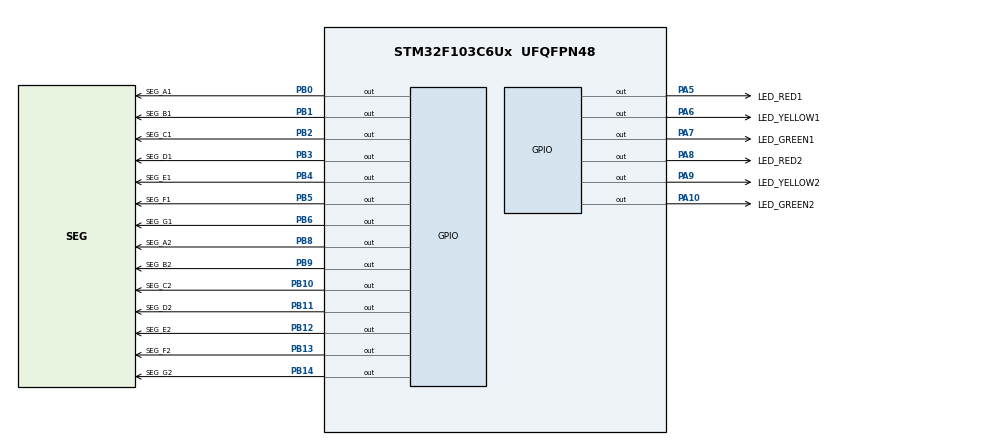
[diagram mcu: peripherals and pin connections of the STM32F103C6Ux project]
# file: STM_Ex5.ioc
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Mcu.Family=STM32F1
Mcu.Name=STM32F103C6Ux
Mcu.Package=UFQFPN48
NVIC.PriorityGroup=NVIC_PRIORITYGROUP_4
PA10.GPIO_Label=LED_GREEN2
PA10.Signal=GPIO_Output
PA5.GPIO_Label=LED_RED1
PA5.Signal=GPIO_Output
PA6.GPIO_Label=LED_YELLOW1
PA6.Signal=GPIO_Output
PA7.GPIO_Label=LED_GREEN1
PA7.Signal=GPIO_Output
PA8.GPIO_Label=LED_RED2
PA8.Signal=GPIO_Output
PA9.GPIO_Label=LED_YELLOW2
PA9.Signal=GPIO_Output
PB0.GPIO_Label=SEG_A1
PB0.Signal=GPIO_Output
PB1.GPIO_Label=SEG_B1
PB1.Signal=GPIO_Output
PB10.GPIO_Label=SEG_C2
PB10.Signal=GPIO_Output
PB11.GPIO_Label=SEG_D2
PB11.Signal=GPIO_Output
PB12.GPIO_Label=SEG_E2
PB12.Signal=GPIO_Output
PB13.GPIO_Label=SEG_F2
PB13.Signal=GPIO_Output
PB14.GPIO_Label=SEG_G2
PB14.Signal=GPIO_Output
PB2.GPIO_Label=SEG_C1
PB2.Signal=GPIO_Output
PB3.GPIO_Label=SEG_D1
PB3.Signal=GPIO_Output
PB4.GPIO_Label=SEG_E1
PB4.Signal=GPIO_Output
PB5.GPIO_Label=SEG_F1
PB5.Signal=GPIO_Output
PB6.GPIO_Label=SEG_G1
PB6.Signal=GPIO_Output
PB8.GPIO_Label=SEG_A2
PB8.Signal=GPIO_Output
PB9.GPIO_Label=SEG_B2
PB9.Signal=GPIO_Output
ProjectManager.HeapSize=0x200
ProjectManager.StackSize=0x400
ProjectManager.TargetToolchain=STM32CubeIDE
RCC.APB1Freq_Value=8000000
RCC.APB2Freq_Value=8000000
VP_SYS_VS_ND.Mode=No_Debug
board=custom

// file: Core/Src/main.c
/* USER CODE BEGIN Header */
/**
  ******************************************************************************
  * @file           : main.c
  * @brief          : Main program body
  ******************************************************************************
  * @attention
  *
  * <h2><center>&copy; Copyright (c) 2022 STMicroelectronics.
  * All rights reserved.</center></h2>
  *
  * This software component is licensed by ST under BSD 3-Clause license,
  * the "License"; You may not use this file except in compliance with the
  * License. You may obtain a copy of the License at:
  *                        opensource.org/licenses/BSD-3-Clause
  *
  ******************************************************************************
  */
/* USER CODE END Header */
#include "main.h"

void SystemClock_Config(void);
static void MX_GPIO_Init(void);

int main(void)
{

  /* MCU Configuration--------------------------------------------------------*/

  /* Reset of all peripherals, Initializes the Flash interface and the Systick. */
  HAL_Init();

  /* Configure the system clock */
  SystemClock_Config();

  /* Initialize all configured peripherals */
  MX_GPIO_Init();

  /* Infinite loop */
  /* USER CODE BEGIN WHILE */

  	// 2 counters, count1 for LED1s, count2 for LED2s
	int count1 = 0, count2 = 0;

	// Function to toggle each of LED1s
	void LED_RED1_toggle()
	{
	HAL_GPIO_WritePin(LED_RED1_GPIO_Port, LED_RED1_Pin, RESET);
	HAL_GPIO_WritePin(LED_YELLOW1_GPIO_Port, LED_YELLOW1_Pin, SET);
	HAL_GPIO_WritePin(LED_GREEN1_GPIO_Port, LED_GREEN1_Pin, SET);
	}
	void LED_GREEN1_toggle()
	{
	HAL_GPIO_WritePin(LED_RED1_GPIO_Port, LED_RED1_Pin, SET);
	HAL_GPIO_WritePin(LED_YELLOW1_GPIO_Port, LED_YELLOW1_Pin, SET);
	HAL_GPIO_WritePin(LED_GREEN1_GPIO_Port, LED_GREEN1_Pin, RESET);
	}
	void LED_YELLOW1_toggle()
	{
	HAL_GPIO_WritePin(LED_RED1_GPIO_Port, LED_RED1_Pin, SET);
	HAL_GPIO_WritePin(LED_YELLOW1_GPIO_Port, LED_YELLOW1_Pin, RESET);
	HAL_GPIO_WritePin(LED_GREEN1_GPIO_Port, LED_GREEN1_Pin, SET);
	}

	// Function to toggle each of LED2s
	void LED_RED2_toggle()
	{
	HAL_GPIO_WritePin(LED_RED2_GPIO_Port, LED_RED2_Pin, RESET);
	HAL_GPIO_WritePin(LED_YELLOW2_GPIO_Port, LED_YELLOW2_Pin, SET);
	HAL_GPIO_WritePin(LED_GREEN2_GPIO_Port, LED_GREEN2_Pin, SET);
	}
	void LED_GREEN2_toggle()
	{
	HAL_GPIO_WritePin(LED_RED2_GPIO_Port, LED_RED2_Pin, SET);
	HAL_GPIO_WritePin(LED_YELLOW2_GPIO_Port, LED_YELLOW2_Pin, SET);
	HAL_GPIO_WritePin(LED_GREEN2_GPIO_Port, LED_GREEN2_Pin, RESET);
	}
	void LED_YELLOW2_toggle()
	{
	HAL_GPIO_WritePin(LED_RED2_GPIO_Port, LED_RED2_Pin, SET);
	HAL_GPIO_WritePin(LED_YELLOW2_GPIO_Port, LED_YELLOW2_Pin, RESET);
	HAL_GPIO_WritePin(LED_GREEN2_GPIO_Port, LED_GREEN2_Pin, SET);
	}

	// Function to display in 7SEG 1
	void display7SEG1(int num)
	{
		switch(num)
		{
		case 0:
			HAL_GPIO_WritePin(SEG_A1_GPIO_Port, SEG_A1_Pin, RESET);
			HAL_GPIO_WritePin(SEG_B1_GPIO_Port, SEG_B1_Pin, RESET);
			HAL_GPIO_WritePin(SEG_C1_GPIO_Port, SEG_C1_Pin, RESET);
			HAL_GPIO_WritePin(SEG_D1_GPIO_Port, SEG_D1_Pin, RESET);
			HAL_GPIO_WritePin(SEG_E1_GPIO_Port, SEG_E1_Pin, RESET);
			HAL_GPIO_WritePin(SEG_F1_GPIO_Port, SEG_F1_Pin, RESET);
			HAL_GPIO_WritePin(SEG_G1_GPIO_Port, SEG_G1_Pin, SET);
			break;
		case 1:
			HAL_GPIO_WritePin(SEG_A1_GPIO_Port, SEG_A1_Pin, SET);
			HAL_GPIO_WritePin(SEG_B1_GPIO_Port, SEG_B1_Pin, RESET);
			HAL_GPIO_WritePin(SEG_C1_GPIO_Port, SEG_C1_Pin, RESET);
			HAL_GPIO_WritePin(SEG_D1_GPIO_Port, SEG_D1_Pin, SET);
			HAL_GPIO_WritePin(SEG_E1_GPIO_Port, SEG_E1_Pin, SET);
			HAL_GPIO_WritePin(SEG_F1_GPIO_Port, SEG_F1_Pin, SET);
			HAL_GPIO_WritePin(SEG_G1_GPIO_Port, SEG_G1_Pin, SET);
			break;
		case 2:
			HAL_GPIO_WritePin(SEG_A1_GPIO_Port, SEG_A1_Pin, RESET);
			HAL_GPIO_WritePin(SEG_B1_GPIO_Port, SEG_B1_Pin, RESET);
			HAL_GPIO_WritePin(SEG_C1_GPIO_Port, SEG_C1_Pin, SET);
			HAL_GPIO_WritePin(SEG_D1_GPIO_Port, SEG_D1_Pin, RESET);
			HAL_GPIO_WritePin(SEG_E1_GPIO_Port, SEG_E1_Pin, RESET);
			HAL_GPIO_WritePin(SEG_F1_GPIO_Port, SEG_F1_Pin, SET);
			HAL_GPIO_WritePin(SEG_G1_GPIO_Port, SEG_G1_Pin, RESET);
			break;
		case 3:
			HAL_GPIO_WritePin(SEG_A1_GPIO_Port, SEG_A1_Pin, RESET);
			HAL_GPIO_WritePin(SEG_B1_GPIO_Port, SEG_B1_Pin, RESET);
			HAL_GPIO_WritePin(SEG_C1_GPIO_Port, SEG_C1_Pin, RESET);
			HAL_GPIO_WritePin(SEG_D1_GPIO_Port, SEG_D1_Pin, RESET);
			HAL_GPIO_WritePin(SEG_E1_GPIO_Port, SEG_E1_Pin, SET);
			HAL_GPIO_WritePin(SEG_F1_GPIO_Port, SEG_F1_Pin, SET);
			HAL_GPIO_WritePin(SEG_G1_GPIO_Port, SEG_G1_Pin, RESET);
			break;
		case 4:
			HAL_GPIO_WritePin(SEG_A1_GPIO_Port, SEG_A1_Pin, SET);
			HAL_GPIO_WritePin(SEG_B1_GPIO_Port, SEG_B1_Pin, RESET);
			HAL_GPIO_WritePin(SEG_C1_GPIO_Port, SEG_C1_Pin, RESET);
			HAL_GPIO_WritePin(SEG_D1_GPIO_Port, SEG_D1_Pin, SET);
			HAL_GPIO_WritePin(SEG_E1_GPIO_Port, SEG_E1_Pin, SET);
			HAL_GPIO_WritePin(SEG_F1_GPIO_Port, SEG_F1_Pin, RESET);
			HAL_GPIO_WritePin(SEG_G1_GPIO_Port, SEG_G1_Pin, RESET);
			break;
		case 5:
			HAL_GPIO_WritePin(SEG_A1_GPIO_Port, SEG_A1_Pin, RESET);
			HAL_GPIO_WritePin(SEG_B1_GPIO_Port, SEG_B1_Pin, SET);
			HAL_GPIO_WritePin(SEG_C1_GPIO_Port, SEG_C1_Pin, RESET);
			HAL_GPIO_WritePin(SEG_D1_GPIO_Port, SEG_D1_Pin, RESET);
			HAL_GPIO_WritePin(SEG_E1_GPIO_Port, SEG_E1_Pin, SET);
			HAL_GPIO_WritePin(SEG_F1_GPIO_Port, SEG_F1_Pin, RESET);
			HAL_GPIO_WritePin(SEG_G1_GPIO_Port, SEG_G1_Pin, RESET);
			break;
		case 6:
			HAL_GPIO_WritePin(SEG_A1_GPIO_Port, SEG_A1_Pin, RESET);
			HAL_GPIO_WritePin(SEG_B1_GPIO_Port, SEG_B1_Pin, SET);
			HAL_GPIO_WritePin(SEG_C1_GPIO_Port, SEG_C1_Pin, RESET);
			HAL_GPIO_WritePin(SEG_D1_GPIO_Port, SEG_D1_Pin, RESET);
			HAL_GPIO_WritePin(SEG_E1_GPIO_Port, SEG_E1_Pin, RESET);
			HAL_GPIO_WritePin(SEG_F1_GPIO_Port, SEG_F1_Pin, RESET);
			HAL_GPIO_WritePin(SEG_G1_GPIO_Port, SEG_G1_Pin, RESET);
			break;
		case 7:
			HAL_GPIO_WritePin(SEG_A1_GPIO_Port, SEG_A1_Pin, RESET);
			HAL_GPIO_WritePin(SEG_B1_GPIO_Port, SEG_B1_Pin, RESET);
			HAL_GPIO_WritePin(SEG_C1_GPIO_Port, SEG_C1_Pin, RESET);
			HAL_GPIO_WritePin(SEG_D1_GPIO_Port, SEG_D1_Pin, SET);
			HAL_GPIO_WritePin(SEG_E1_GPIO_Port, SEG_E1_Pin, SET);
			HAL_GPIO_WritePin(SEG_F1_GPIO_Port, SEG_F1_Pin, SET);
			HAL_GPIO_WritePin(SEG_G1_GPIO_Port, SEG_G1_Pin, SET);
			break;
		case 8:
			HAL_GPIO_WritePin(SEG_A1_GPIO_Port, SEG_A1_Pin, RESET);
			HAL_GPIO_WritePin(SEG_B1_GPIO_Port, SEG_B1_Pin, RESET);
			HAL_GPIO_WritePin(SEG_C1_GPIO_Port, SEG_C1_Pin, RESET);
			HAL_GPIO_WritePin(SEG_D1_GPIO_Port, SEG_D1_Pin, RESET);
			HAL_GPIO_WritePin(SEG_E1_GPIO_Port, SEG_E1_Pin, RESET);
			HAL_GPIO_WritePin(SEG_F1_GPIO_Port, SEG_F1_Pin, RESET);
			HAL_GPIO_WritePin(SEG_G1_GPIO_Port, SEG_G1_Pin, RESET);
			break;
		case 9:
			HAL_GPIO_WritePin(SEG_A1_GPIO_Port, SEG_A1_Pin, RESET);
			HAL_GPIO_WritePin(SEG_B1_GPIO_Port, SEG_B1_Pin, RESET);
			HAL_GPIO_WritePin(SEG_C1_GPIO_Port, SEG_C1_Pin, RESET);
			HAL_GPIO_WritePin(SEG_D1_GPIO_Port, SEG_D1_Pin, RESET);
			HAL_GPIO_WritePin(SEG_E1_GPIO_Port, SEG_E1_Pin, SET);
			HAL_GPIO_WritePin(SEG_F1_GPIO_Port, SEG_F1_Pin, RESET);
			HAL_GPIO_WritePin(SEG_G1_GPIO_Port, SEG_G1_Pin, RESET);
			break;
		}
	}

	// Function to display in 7SEG 2
	void display7SEG2(int num)
	{
		switch(num)
		{
		case 0:
			HAL_GPIO_WritePin(SEG_A2_GPIO_Port, SEG_A2_Pin, RESET);
			HAL_GPIO_WritePin(SEG_B2_GPIO_Port, SEG_B2_Pin, RESET);
			HAL_GPIO_WritePin(SEG_C2_GPIO_Port, SEG_C2_Pin, RESET);
			HAL_GPIO_WritePin(SEG_D2_GPIO_Port, SEG_D2_Pin, RESET);
			HAL_GPIO_WritePin(SEG_E2_GPIO_Port, SEG_E2_Pin, RESET);
			HAL_GPIO_WritePin(SEG_F2_GPIO_Port, SEG_F2_Pin, RESET);
			HAL_GPIO_WritePin(SEG_G2_GPIO_Port, SEG_G2_Pin, SET);
			break;
		case 1:
			HAL_GPIO_WritePin(SEG_A2_GPIO_Port, SEG_A2_Pin, SET);
			HAL_GPIO_WritePin(SEG_B2_GPIO_Port, SEG_B2_Pin, RESET);
			HAL_GPIO_WritePin(SEG_C2_GPIO_Port, SEG_C2_Pin, RESET);
			HAL_GPIO_WritePin(SEG_D2_GPIO_Port, SEG_D2_Pin, SET);
			HAL_GPIO_WritePin(SEG_E2_GPIO_Port, SEG_E2_Pin, SET);
			HAL_GPIO_WritePin(SEG_F2_GPIO_Port, SEG_F2_Pin, SET);
			HAL_GPIO_WritePin(SEG_G2_GPIO_Port, SEG_G2_Pin, SET);
			break;
		case 2:
			HAL_GPIO_WritePin(SEG_A2_GPIO_Port, SEG_A2_Pin, RESET);
			HAL_GPIO_WritePin(SEG_B2_GPIO_Port, SEG_B2_Pin, RESET);
			HAL_GPIO_WritePin(SEG_C2_GPIO_Port, SEG_C2_Pin, SET);
			HAL_GPIO_WritePin(SEG_D2_GPIO_Port, SEG_D2_Pin, RESET);
			HAL_GPIO_WritePin(SEG_E2_GPIO_Port, SEG_E2_Pin, RESET);
			HAL_GPIO_WritePin(SEG_F2_GPIO_Port, SEG_F2_Pin, SET);
			HAL_GPIO_WritePin(SEG_G2_GPIO_Port, SEG_G2_Pin, RESET);
			break;
		case 3:
			HAL_GPIO_WritePin(SEG_A2_GPIO_Port, SEG_A2_Pin, RESET);
			HAL_GPIO_WritePin(SEG_B2_GPIO_Port, SEG_B2_Pin, RESET);
			HAL_GPIO_WritePin(SEG_C2_GPIO_Port, SEG_C2_Pin, RESET);
			HAL_GPIO_WritePin(SEG_D2_GPIO_Port, SEG_D2_Pin, RESET);
			HAL_GPIO_WritePin(SEG_E2_GPIO_Port, SEG_E2_Pin, SET);
			HAL_GPIO_WritePin(SEG_F2_GPIO_Port, SEG_F2_Pin, SET);
			HAL_GPIO_WritePin(SEG_G2_GPIO_Port, SEG_G2_Pin, RESET);
			break;
		case 4:
			HAL_GPIO_WritePin(SEG_A2_GPIO_Port, SEG_A2_Pin, SET);
			HAL_GPIO_WritePin(SEG_B2_GPIO_Port, SEG_B2_Pin, RESET);
			HAL_GPIO_WritePin(SEG_C2_GPIO_Port, SEG_C2_Pin, RESET);
			HAL_GPIO_WritePin(SEG_D2_GPIO_Port, SEG_D2_Pin, SET);
			HAL_GPIO_WritePin(SEG_E2_GPIO_Port, SEG_E2_Pin, SET);
			HAL_GPIO_WritePin(SEG_F2_GPIO_Port, SEG_F2_Pin, RESET);
			HAL_GPIO_WritePin(SEG_G2_GPIO_Port, SEG_G2_Pin, RESET);
			break;
		case 5:
			HAL_GPIO_WritePin(SEG_A2_GPIO_Port, SEG_A2_Pin, RESET);
			HAL_GPIO_WritePin(SEG_B2_GPIO_Port, SEG_B2_Pin, SET);
			HAL_GPIO_WritePin(SEG_C2_GPIO_Port, SEG_C2_Pin, RESET);
			HAL_GPIO_WritePin(SEG_D2_GPIO_Port, SEG_D2_Pin, RESET);
			HAL_GPIO_WritePin(SEG_E2_GPIO_Port, SEG_E2_Pin, SET);
			HAL_GPIO_WritePin(SEG_F2_GPIO_Port, SEG_F2_Pin, RESET);
			HAL_GPIO_WritePin(SEG_G2_GPIO_Port, SEG_G2_Pin, RESET);
			break;
		case 6:
			HAL_GPIO_WritePin(SEG_A2_GPIO_Port, SEG_A2_Pin, RESET);
			HAL_GPIO_WritePin(SEG_B2_GPIO_Port, SEG_B2_Pin, SET);
			HAL_GPIO_WritePin(SEG_C2_GPIO_Port, SEG_C2_Pin, RESET);
			HAL_GPIO_WritePin(SEG_D2_GPIO_Port, SEG_D2_Pin, RESET);
			HAL_GPIO_WritePin(SEG_E2_GPIO_Port, SEG_E2_Pin, RESET);
			HAL_GPIO_WritePin(SEG_F2_GPIO_Port, SEG_F2_Pin, RESET);
			HAL_GPIO_WritePin(SEG_G2_GPIO_Port, SEG_G2_Pin, RESET);
			break;
		case 7:
			HAL_GPIO_WritePin(SEG_A2_GPIO_Port, SEG_A2_Pin, RESET);
			HAL_GPIO_WritePin(SEG_B2_GPIO_Port, SEG_B2_Pin, RESET);
			HAL_GPIO_WritePin(SEG_C2_GPIO_Port, SEG_C2_Pin, RESET);
			HAL_GPIO_WritePin(SEG_D2_GPIO_Port, SEG_D2_Pin, SET);
			HAL_GPIO_WritePin(SEG_E2_GPIO_Port, SEG_E2_Pin, SET);
			HAL_GPIO_WritePin(SEG_F2_GPIO_Port, SEG_F2_Pin, SET);
			HAL_GPIO_WritePin(SEG_G2_GPIO_Port, SEG_G2_Pin, SET);
			break;
		case 8:
			HAL_GPIO_WritePin(SEG_A2_GPIO_Port, SEG_A2_Pin, RESET);
			HAL_GPIO_WritePin(SEG_B2_GPIO_Port, SEG_B2_Pin, RESET);
			HAL_GPIO_WritePin(SEG_C2_GPIO_Port, SEG_C2_Pin, RESET);
			HAL_GPIO_WritePin(SEG_D2_GPIO_Port, SEG_D2_Pin, RESET);
			HAL_GPIO_WritePin(SEG_E2_GPIO_Port, SEG_E2_Pin, RESET);
			HAL_GPIO_WritePin(SEG_F2_GPIO_Port, SEG_F2_Pin, RESET);
			HAL_GPIO_WritePin(SEG_G2_GPIO_Port, SEG_G2_Pin, RESET);
			break;
		case 9:
			HAL_GPIO_WritePin(SEG_A2_GPIO_Port, SEG_A2_Pin, RESET);
			HAL_GPIO_WritePin(SEG_B2_GPIO_Port, SEG_B2_Pin, RESET);
			HAL_GPIO_WritePin(SEG_C2_GPIO_Port, SEG_C2_Pin, RESET);
			HAL_GPIO_WritePin(SEG_D2_GPIO_Port, SEG_D2_Pin, RESET);
			HAL_GPIO_WritePin(SEG_E2_GPIO_Port, SEG_E2_Pin, SET);
			HAL_GPIO_WritePin(SEG_F2_GPIO_Port, SEG_F2_Pin, RESET);
			HAL_GPIO_WritePin(SEG_G2_GPIO_Port, SEG_G2_Pin, RESET);
			break;
		}
	}
	while (1)
	{
	  // For counter 1
	  if ((count1 >= 0) && (count1 < 5))
	  {
		  display7SEG1(5 - count1);
		  LED_RED1_toggle();
	  }
	  if ((count1 >= 5) && (count1 < 8))
	  {
		  display7SEG1(8 - count1);
		  LED_GREEN1_toggle();
	  }
	  if ((count1 >= 8) && (count1 < 10))
	  {
		  display7SEG1(10 - count1);
		  LED_YELLOW1_toggle();
	  }
	  // For counter 2
	  if ((count2 >= 0) && (count2 < 3))
	  {
		  display7SEG2(3 - count2);
		  LED_GREEN2_toggle();
	  }
	  if ((count2 >= 3) && (count2 < 5))
	  {
		  display7SEG2(5 - count2);
		  LED_YELLOW2_toggle();
	  }
	  if ((count2 >= 5) && (count2 < 10))
	  {
		  LED_RED2_toggle();
		  display7SEG2(10 - count2);
	  }
	  // Add count indexes
	  count1++; count2++;

	  // Reset count indexes
	  if (count1 >= 10)
	  {
		  count1 = 0;
	  }
	  if (count2 >= 10)
	  {
		  count2 = 0;
	  }
	  HAL_Delay(1000);
    /* USER CODE END WHILE */

	}
}

void SystemClock_Config(void)
{
  RCC_OscInitTypeDef RCC_OscInitStruct = {0};
  RCC_ClkInitTypeDef RCC_ClkInitStruct = {0};

  /** Initializes the RCC Oscillators according to the specified parameters
  * in the RCC_OscInitTypeDef structure.
  */
  RCC_OscInitStruct.OscillatorType = RCC_OSCILLATORTYPE_HSI;
  RCC_OscInitStruct.HSIState = RCC_HSI_ON;
  RCC_OscInitStruct.HSICalibrationValue = RCC_HSICALIBRATION_DEFAULT;
  RCC_OscInitStruct.PLL.PLLState = RCC_PLL_NONE;
  if (HAL_RCC_OscConfig(&RCC_OscInitStruct) != HAL_OK)
  {
    Error_Handler();
  }
  /** Initializes the CPU, AHB and APB buses clocks
  */
  RCC_ClkInitStruct.ClockType = RCC_CLOCKTYPE_HCLK|RCC_CLOCKTYPE_SYSCLK
                              |RCC_CLOCKTYPE_PCLK1|RCC_CLOCKTYPE_PCLK2;
  RCC_ClkInitStruct.SYSCLKSource = RCC_SYSCLKSOURCE_HSI;
  RCC_ClkInitStruct.AHBCLKDivider = RCC_SYSCLK_DIV1;
  RCC_ClkInitStruct.APB1CLKDivider = RCC_HCLK_DIV1;
  RCC_ClkInitStruct.APB2CLKDivider = RCC_HCLK_DIV1;

  if (HAL_RCC_ClockConfig(&RCC_ClkInitStruct, FLASH_LATENCY_0) != HAL_OK)
  {
    Error_Handler();
  }
}

static void MX_GPIO_Init(void)
{
  GPIO_InitTypeDef GPIO_InitStruct = {0};

  /* GPIO Ports Clock Enable */
  __HAL_RCC_GPIOA_CLK_ENABLE();
  __HAL_RCC_GPIOB_CLK_ENABLE();

  /*Configure GPIO pin Output Level */
  HAL_GPIO_WritePin(GPIOA, LED_RED1_Pin|LED_YELLOW1_Pin|LED_GREEN1_Pin|LED_RED2_Pin
                          |LED_YELLOW2_Pin|LED_GREEN2_Pin, GPIO_PIN_RESET);

  /*Configure GPIO pin Output Level */
  HAL_GPIO_WritePin(GPIOB, SEG_A1_Pin|SEG_B1_Pin|SEG_C1_Pin|SEG_C2_Pin
                          |SEG_D2_Pin|SEG_E2_Pin|SEG_F2_Pin|SEG_G2_Pin
                          |SEG_D1_Pin|SEG_E1_Pin|SEG_F1_Pin|SEG_G1_Pin
                          |SEG_A2_Pin|SEG_B2_Pin, GPIO_PIN_RESET);

  /*Configure GPIO pins : LED_RED1_Pin LED_YELLOW1_Pin LED_GREEN1_Pin LED_RED2_Pin
                           LED_YELLOW2_Pin LED_GREEN2_Pin */
  GPIO_InitStruct.Pin = LED_RED1_Pin|LED_YELLOW1_Pin|LED_GREEN1_Pin|LED_RED2_Pin
                          |LED_YELLOW2_Pin|LED_GREEN2_Pin;
  GPIO_InitStruct.Mode = GPIO_MODE_OUTPUT_PP;
  GPIO_InitStruct.Pull = GPIO_NOPULL;
  GPIO_InitStruct.Speed = GPIO_SPEED_FREQ_LOW;
  HAL_GPIO_Init(GPIOA, &GPIO_InitStruct);

  /*Configure GPIO pins : SEG_A1_Pin SEG_B1_Pin SEG_C1_Pin SEG_C2_Pin
                           SEG_D2_Pin SEG_E2_Pin SEG_F2_Pin SEG_G2_Pin
                           SEG_D1_Pin SEG_E1_Pin SEG_F1_Pin SEG_G1_Pin
                           SEG_A2_Pin SEG_B2_Pin */
  GPIO_InitStruct.Pin = SEG_A1_Pin|SEG_B1_Pin|SEG_C1_Pin|SEG_C2_Pin
                          |SEG_D2_Pin|SEG_E2_Pin|SEG_F2_Pin|SEG_G2_Pin
                          |SEG_D1_Pin|SEG_E1_Pin|SEG_F1_Pin|SEG_G1_Pin
                          |SEG_A2_Pin|SEG_B2_Pin;
  GPIO_InitStruct.Mode = GPIO_MODE_OUTPUT_PP;
  GPIO_InitStruct.Pull = GPIO_NOPULL;
  GPIO_InitStruct.Speed = GPIO_SPEED_FREQ_LOW;
  HAL_GPIO_Init(GPIOB, &GPIO_InitStruct);

}

void Error_Handler(void)
{
  __disable_irq();
  while (1)
  {
  }
}

/************************ (C) COPYRIGHT STMicroelectronics *****END OF FILE****/
